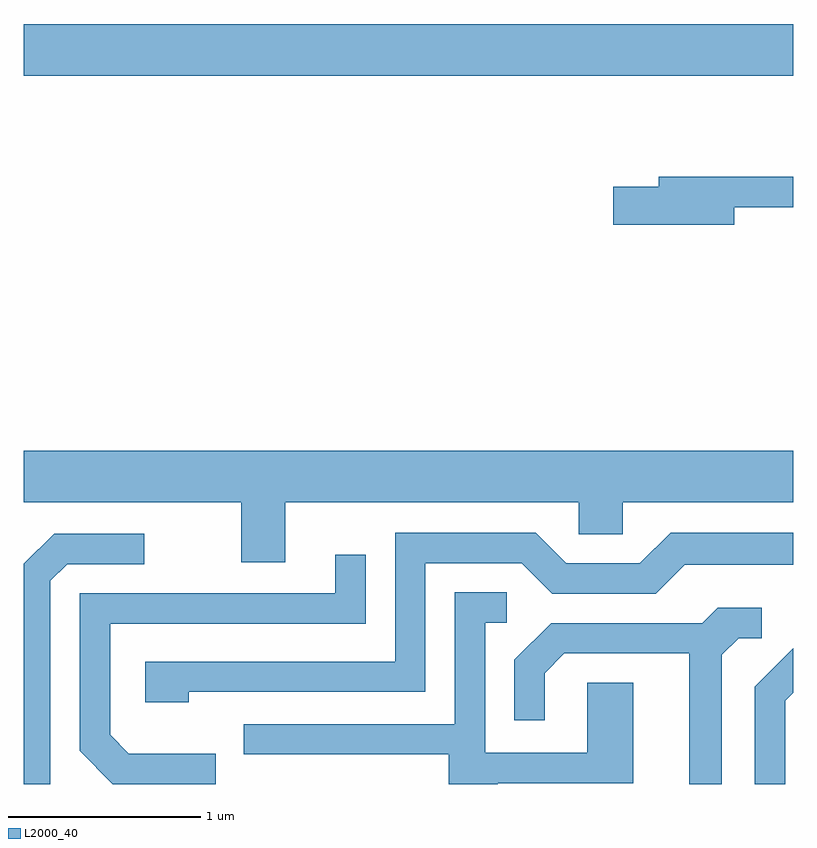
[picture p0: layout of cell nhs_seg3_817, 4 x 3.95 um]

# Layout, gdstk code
import gdstk
lib = gdstk.Library(unit=1e-6, precision=1e-09)
def R(c, l, rs):  # rectangles x0, y0, x1, y1
    for r in rs: c.add(gdstk.rectangle(r[:2], r[2:], *l))
def P(c, l, *ps):  # polygons
    for p in ps: c.add(gdstk.Polygon(p, *l))
L2000_40 = (2000, 40)

nhs_seg3_817 = lib.new_cell('nhs_seg3_817')
R(nhs_seg3_817, L2000_40, [(209.611,1121.576,213.611,1121.844)])
P(nhs_seg3_817, L2000_40, [(213.304,1120.891),(213.611,1120.891),(213.611,1121.049),(212.911,1121.049),(212.911,1120.999),(212.676,1120.999),(212.676,1120.801),(213.304,1120.801)],
  [(210.969,1119.356),(212.496,1119.356),(212.496,1119.191),(212.724,1119.191),(212.724,1119.356),(213.611,1119.356),(213.611,1119.624),(209.611,1119.624),(209.611,1119.356),(210.741,1119.356),(210.741,1119.046),(210.969,1119.046)],
  [(210.469,1118.371),(211.699,1118.371),(211.699,1119.041),(212.199,1119.041),(212.359,1118.881),(212.897,1118.881),(213.047,1119.031),(213.611,1119.031),(213.611,1119.199),(212.974,1119.199),(212.814,1119.039),(212.432,1119.039),(212.272,1119.199),(211.541,1119.199),(211.541,1118.529),(210.241,1118.529),(210.241,1118.316),(210.469,1118.316)],
  [(209.749,1118.949),(209.837,1119.036),(210.238,1119.036),(210.238,1119.194),(209.769,1119.194),(209.611,1119.037),(209.611,1117.892),(209.749,1117.892)],
  [(210.609,1118.049),(210.157,1118.049),(210.059,1118.147),(210.059,1118.726),(211.389,1118.726),(211.389,1119.083),(211.231,1119.083),(211.231,1118.884),(209.901,1118.884),(209.901,1118.064),(210.073,1117.892),(210.609,1117.892)],
  [(212.075,1117.896),(212.779,1117.896),(212.779,1118.419),(212.541,1118.419),(212.541,1118.054),(212.009,1118.054),(212.009,1118.731),(212.123,1118.731),(212.123,1118.889),(211.851,1118.889),(211.851,1118.204),(210.753,1118.204),(210.753,1118.046),(211.821,1118.046),(211.821,1117.892),(212.075,1117.892)],
  [(213.239,1118.564),(213.327,1118.651),(213.448,1118.651),(213.448,1118.809),(213.219,1118.809),(213.139,1118.729),(212.354,1118.729),(212.161,1118.537),(212.161,1118.223),(212.319,1118.223),(212.319,1118.469),(212.422,1118.571),(213.071,1118.571),(213.071,1117.892),(213.239,1117.892)],
  [(213.569,1118.324),(213.611,1118.366),(213.611,1118.597),(213.411,1118.397),(213.411,1117.892),(213.569,1117.892)])

lib.write_gds('nhs_seg3_817.gds')
